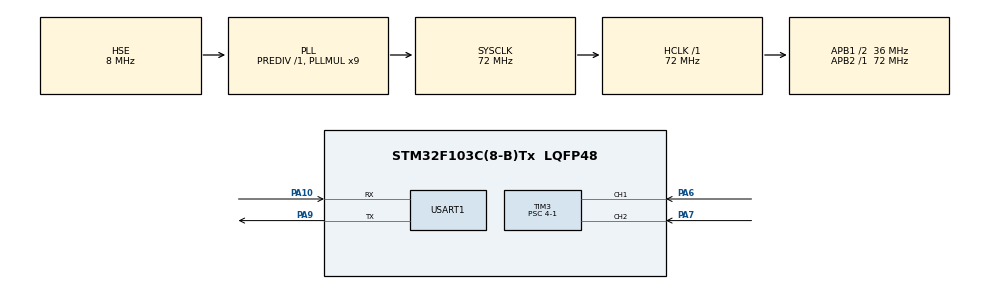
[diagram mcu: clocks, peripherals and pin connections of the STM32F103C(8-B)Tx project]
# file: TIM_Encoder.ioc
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Mcu.Family=STM32F1
Mcu.Name=STM32F103C(8-B)Tx
Mcu.Package=LQFP48
NVIC.PriorityGroup=NVIC_PRIORITYGROUP_4
PA10.Mode=Asynchronous
PA10.Signal=USART1_RX
PA13.Mode=Serial_Wire
PA13.Signal=SYS_JTMS-SWDIO
PA14.Mode=Serial_Wire
PA14.Signal=SYS_JTCK-SWCLK
PA6.Signal=S_TIM3_CH1
PA7.Signal=S_TIM3_CH2
PA9.Mode=Asynchronous
PA9.Signal=USART1_TX
PC14-OSC32_IN.Mode=LSE-External-Oscillator
PC14-OSC32_IN.Signal=RCC_OSC32_IN
PC15-OSC32_OUT.Mode=LSE-External-Oscillator
PC15-OSC32_OUT.Signal=RCC_OSC32_OUT
PD0-OSC_IN.Mode=HSE-External-Oscillator
PD0-OSC_IN.Signal=RCC_OSC_IN
PD1-OSC_OUT.Mode=HSE-External-Oscillator
PD1-OSC_OUT.Signal=RCC_OSC_OUT
ProjectManager.HeapSize=0x200
ProjectManager.StackSize=0x400
ProjectManager.TargetToolchain=CMake
RCC.AHBFreq_Value=72000000
RCC.APB1CLKDivider=RCC_HCLK_DIV2
RCC.APB1Freq_Value=36000000
RCC.APB1TimFreq_Value=72000000
RCC.APB2Freq_Value=72000000
RCC.APB2TimFreq_Value=72000000
RCC.HCLKFreq_Value=72000000
RCC.PLLMUL=RCC_PLL_MUL9
RCC.PLLSourceVirtual=RCC_PLLSOURCE_HSE
RCC.SYSCLKFreq_VALUE=72000000
RCC.SYSCLKSource=RCC_SYSCLKSOURCE_PLLCLK
RCC.USBFreq_Value=72000000
SH.S_TIM3_CH1.0=TIM3_CH1,Encoder_Interface
SH.S_TIM3_CH2.0=TIM3_CH2,Encoder_Interface
TIM3.EncoderMode=TIM_ENCODERMODE_TI12
TIM3.Prescaler=4-1
USART1.VirtualMode=VM_ASYNC
board=custom

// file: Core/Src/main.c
/* USER CODE BEGIN Header */
/**
  ******************************************************************************
  * @file           : main.c
  * @brief          : Main program body
  ******************************************************************************
  * @attention
  *
  * Copyright (c) 2026 STMicroelectronics.
  * All rights reserved.
  *
  * This software is licensed under terms that can be found in the LICENSE file
  * in the root directory of this software component.
  * If no LICENSE file comes with this software, it is provided AS-IS.
  *
  ******************************************************************************
  */
/* USER CODE END Header */
#include "main.h"
#include "stm32f1xx_hal.h"
#include "stm32f1xx_hal_tim.h"
#include "stm32f1xx_hal_uart.h"
#include "tim.h"
#include "usart.h"
#include "gpio.h"
#include <stdint.h>

/* USER CODE BEGIN Includes */
#include "stdio.h"
/* USER CODE END Includes */

/* USER CODE BEGIN PV */
int8_t encode_cnt = 0;//当前值
int8_t encode_last = 0;//最后转动值
uint32_t last_move_time = 0;//最后转动时间
uint8_t encode_static = 0;//0为运动，1为静止

/* USER CODE END PV */

void SystemClock_Config(void);

int main(void)
{

  /* MCU Configuration--------------------------------------------------------*/

  /* Reset of all peripherals, Initializes the Flash interface and the Systick. */
  HAL_Init();

  /* Configure the system clock */
  SystemClock_Config();

  /* Initialize all configured peripherals */
  MX_GPIO_Init();
  MX_TIM3_Init();
  MX_USART1_UART_Init();
  /* USER CODE BEGIN 2 */
  HAL_TIM_Encoder_Start(&htim3, TIM_CHANNEL_ALL);
  /* USER CODE END 2 */

  /* Infinite loop */
  /* USER CODE BEGIN WHILE */
  while (1)
  {
    encode_cnt = __HAL_TIM_GET_COUNTER(&htim3);//获取当前编码器计数值
    if(encode_cnt != encode_last)//判断编码器是否转动
    {
      encode_static = 0;//静止状态标志置0
      last_move_time = HAL_GetTick();//获取当前时间作为最后转动时间
      int8_t diff = encode_cnt - encode_last;//转动变化值
      if(__HAL_TIM_IS_TIM_COUNTING_DOWN(&htim3))///判断编码器计数值是否递减从而判断是否逆时针转
      {
        printf("逆时针旋转%d，当前位置：%d\r\n",diff,encode_cnt);
      }
      else
      {
        printf("顺时针旋转%d，当前位置：%d\r\n",diff,encode_cnt);
      }
      encode_last = encode_cnt;
    }
    else
    {
      if(HAL_GetTick() - last_move_time >= 2000 && encode_static == 0)//静止超过2s后只发送一次
      {
        encode_static = 1;
        printf("当前编码器静止超过2s，等待重新转动....\r\n");
      }
    }
    /* USER CODE END WHILE */

  }
}

void SystemClock_Config(void)
{
  RCC_OscInitTypeDef RCC_OscInitStruct = {0};
  RCC_ClkInitTypeDef RCC_ClkInitStruct = {0};

  /** Initializes the RCC Oscillators according to the specified parameters
  * in the RCC_OscInitTypeDef structure.
  */
  RCC_OscInitStruct.OscillatorType = RCC_OSCILLATORTYPE_HSE;
  RCC_OscInitStruct.HSEState = RCC_HSE_ON;
  RCC_OscInitStruct.HSEPredivValue = RCC_HSE_PREDIV_DIV1;
  RCC_OscInitStruct.HSIState = RCC_HSI_ON;
  RCC_OscInitStruct.PLL.PLLState = RCC_PLL_ON;
  RCC_OscInitStruct.PLL.PLLSource = RCC_PLLSOURCE_HSE;
  RCC_OscInitStruct.PLL.PLLMUL = RCC_PLL_MUL9;
  if (HAL_RCC_OscConfig(&RCC_OscInitStruct) != HAL_OK)
  {
    Error_Handler();
  }

  /** Initializes the CPU, AHB and APB buses clocks
  */
  RCC_ClkInitStruct.ClockType = RCC_CLOCKTYPE_HCLK|RCC_CLOCKTYPE_SYSCLK
                              |RCC_CLOCKTYPE_PCLK1|RCC_CLOCKTYPE_PCLK2;
  RCC_ClkInitStruct.SYSCLKSource = RCC_SYSCLKSOURCE_PLLCLK;
  RCC_ClkInitStruct.AHBCLKDivider = RCC_SYSCLK_DIV1;
  RCC_ClkInitStruct.APB1CLKDivider = RCC_HCLK_DIV2;
  RCC_ClkInitStruct.APB2CLKDivider = RCC_HCLK_DIV1;

  if (HAL_RCC_ClockConfig(&RCC_ClkInitStruct, FLASH_LATENCY_2) != HAL_OK)
  {
    Error_Handler();
  }
}

/* USER CODE BEGIN 4 */
int __io_putchar(int ch)
{
  uint8_t data = (uint8_t)ch;
  HAL_UART_Transmit(&huart1, &data, 1, HAL_MAX_DELAY);
  return ch;
}
/* USER CODE END 4 */

void Error_Handler(void)
{
  __disable_irq();
  while (1)
  {
  }
}
